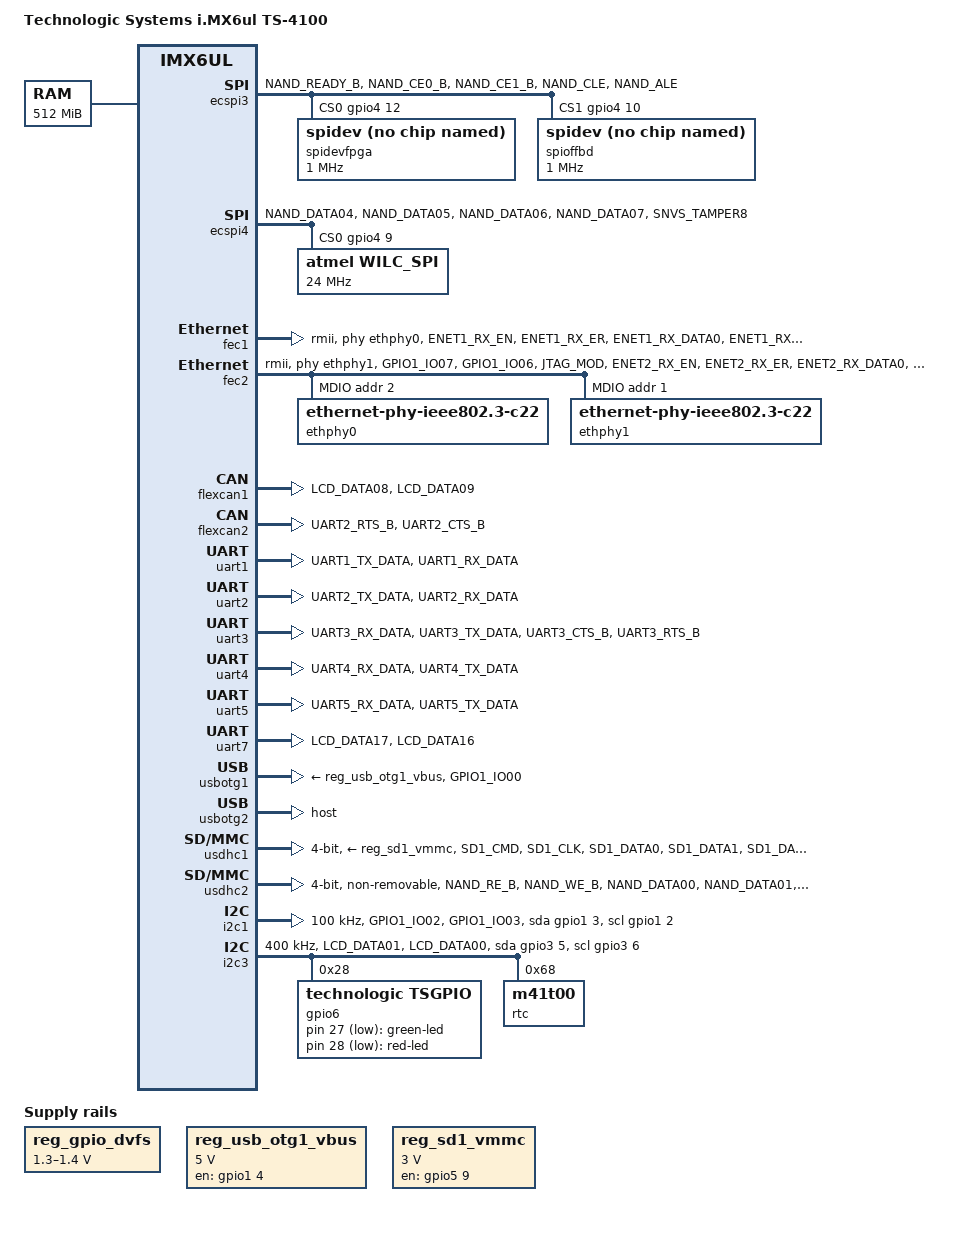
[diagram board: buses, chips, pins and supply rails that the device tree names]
/*
 * Copyright 2017 Technologic Systems
 *
 * This file is dual-licensed: you can use it either under the terms
 * of the GPL or the X11 license, at your option. Note that this dual
 * licensing only applies to this file, and not this project as a
 * whole.
 *
 *  a) This file is free software; you can redistribute it and/or
 *     modify it under the terms of the GNU General Public License
 *     version 2 as published by the Free Software Foundation.
 *
 *     This file is distributed in the hope that it will be useful
 *     but WITHOUT ANY WARRANTY; without even the implied warranty of
 *     MERCHANTABILITY or FITNESS FOR A PARTICULAR PURPOSE.  See the
 *     GNU General Public License for more details.
 *
 * Or, alternatively
 *
 *  b) Permission is hereby granted, free of charge, to any person
 *     obtaining a copy of this software and associated documentation
 *     files (the "Software"), to deal in the Software without
 *     restriction, including without limitation the rights to use
 *     copy, modify, merge, publish, distribute, sublicense, and/or
 *     sell copies of the Software, and to permit persons to whom the
 *     Software is furnished to do so, subject to the following
 *     conditions:
 *
 *     The above copyright notice and this permission notice shall be
 *     included in all copies or substantial portions of the Software.
 *
 *     THE SOFTWARE IS PROVIDED , WITHOUT WARRANTY OF ANY KIND
 *     EXPRESS OR IMPLIED, INCLUDING BUT NOT LIMITED TO THE WARRANTIES
 *     OF MERCHANTABILITY, FITNESS FOR A PARTICULAR PURPOSE AND
 *     NONINFRINGEMENT. IN NO EVENT SHALL THE AUTHORS OR COPYRIGHT
 *     HOLDERS BE LIABLE FOR ANY CLAIM, DAMAGES OR OTHER LIABILITY
 *     WHETHER IN AN ACTION OF CONTRACT, TORT OR OTHERWISE, ARISING
 *     FROM, OUT OF OR IN CONNECTION WITH THE SOFTWARE OR THE USE OR
 *     OTHER DEALINGS IN THE SOFTWARE.
 */

#include <dt-bindings/input/input.h>
#include "imx6ul.dtsi"

/ {
	model = "Technologic Systems i.MX6ul TS-4100";
	compatible = "technologic,ts4100", "fsl,imx6ul";

	chosen {
		stdout-path = &uart1;
	};

	memory {
		reg = <0x80000000 0x20000000>;
	};

	leds {
		pinctrl-names = "default";
		compatible = "gpio-leds";

		green-led {
			label = "green-led";
			gpios = <&gpio6 27 GPIO_ACTIVE_LOW>;
			default-state = "on";
		};

		red-led {
			label = "red-led";
			gpios = <&gpio6 28 GPIO_ACTIVE_LOW>;
			default-state = "off";
		};
	};

	reserved-memory {
		#address-cells = <1>;
		#size-cells = <1>;
		ranges;

		linux,cma {
			compatible = "shared-dma-pool";
			reusable;
			size = <0x14000000>;
			linux,cma-default;
		};
	};

	aliases {
		ethernet0 = &fec2;
		ethernet1 = &fec1;
	};

	pxp_v4l2 {
		compatible = "fsl,imx6ul-pxp-v4l2", "fsl,imx6sx-pxp-v4l2", "fsl,imx6sl-pxp-v4l2";
		status = "disabled";
	};

	regulators {
		compatible = "simple-bus";
		#address-cells = <1>;
		#size-cells = <0>;

		reg_gpio_dvfs: regulator-gpio {
			compatible = "regulator-gpio";
			pinctrl-names = "default";
			pinctrl-0 = <&pinctrl_dvfs>;
			regulator-min-microvolt = <1300000>;
			regulator-max-microvolt = <1400000>;
			regulator-name = "gpio_dvfs";
			regulator-type = "voltage";
			gpios = <&gpio5 3 GPIO_ACTIVE_HIGH>;
			states = <1300000 0x1 1400000 0x0>;
		};

		reg_usb_otg1_vbus: regulator@2 {
			compatible = "regulator-fixed";
			reg = <2>;
			pinctrl-names = "default";
			pinctrl-0 = <&pinctrl_usb_otg1>;
			regulator-name = "usb_otg1_vbus";
			regulator-min-microvolt = <5000000>;
			regulator-max-microvolt = <5000000>;
			gpio = <&gpio1 4 GPIO_ACTIVE_HIGH>;
			enable-active-high;
		};

		reg_sd1_vmmc: sd1_vmmc {
			compatible = "regulator-fixed";
			regulator-name = "SD1_SPWR";
			regulator-min-microvolt = <3000000>;
			regulator-max-microvolt = <3000000>;
			gpio = <&gpio5 9 GPIO_ACTIVE_HIGH>;
			enable-active-high;
		};
	};
};

&cpu0 {
	arm-supply = <&reg_arm>;
	soc-supply = <&reg_soc>;
	dc-supply = <&reg_gpio_dvfs>;
};

&ecspi3 {
	fsl,spi-num-chipselects = <2>;
	cs-gpios = <&gpio4 12 0>, <&gpio4 10 0>;
	pinctrl-names = "default";
	pinctrl-0 = <&pinctrl_ecspi3>;
	status = "okay";

	spidevfpga: spi@0 {
		compatible = "spidev";
		reg = <0>;
		spi-max-frequency = <1000000>;
	};

	spioffbd: spi@1 {
		compatible = "spidev";
		reg = <1>;
		spi-max-frequency = <1000000>;
	};
};

&ecspi4 {
	fsl,spi-num-chipselects = <1>;
	cs-gpios = <&gpio4 9 0>;
	pinctrl-names = "default";
	pinctrl-0 = <&pinctrl_ecspi4>;
	status = "okay";

	wilc_spi@0 {
		compatible = "atmel,wilc_spi";
		reg = <0>;
		spi-max-frequency = <24000000>;
		status = "okay";
    };
};

&fec1 {
	pinctrl-names = "default";
	pinctrl-0 = <&pinctrl_enet1>;
	phy-mode = "rmii";
	phy-handle = <&ethphy0>;
	status = "okay";
};

&fec2 {
	pinctrl-names = "default";
	pinctrl-0 = <&pinctrl_enet2>;
	phy-mode = "rmii";
	phy-handle = <&ethphy1>;
	status = "okay";

	mdio {
		#address-cells = <1>;
		#size-cells = <0>;

		ethphy0: ethernet-phy@2 {
			compatible = "ethernet-phy-ieee802.3-c22";
			reg = <2>;
		};

		ethphy1: ethernet-phy@1 {
			compatible = "ethernet-phy-ieee802.3-c22";
			reg = <1>;
		};
	};
};

&flexcan1 {
	pinctrl-names = "default";
	pinctrl-0 = <&pinctrl_flexcan1>;
	status = "okay";
};

&flexcan2 {
	pinctrl-names = "default";
	pinctrl-0 = <&pinctrl_flexcan2>;
	status = "okay";
};

&gpc {
	fsl,cpu_pupscr_sw2iso = <0x1>;
	fsl,cpu_pupscr_sw = <0x0>;
	fsl,cpu_pdnscr_iso2sw = <0x1>;
	fsl,cpu_pdnscr_iso = <0x1>;
	fsl,ldo-bypass = <0>; /* DCDC, ldo-enable */
};

&uart1 {
	pinctrl-names = "default";
	pinctrl-0 = <&pinctrl_uart1>;
	status = "okay";
};

&uart2 {
	pinctrl-names = "default";
	pinctrl-0 = <&pinctrl_uart2>;
	status = "okay";
};

&uart3 {
	pinctrl-names = "default";
	pinctrl-0 = <&pinctrl_uart3>;
	status = "okay";
	fsl,uart-has-rtscts;
};

&uart4 {
	pinctrl-names = "default";
	pinctrl-0 = <&pinctrl_uart4>;
	status = "okay";
};

&uart5 {
	pinctrl-names = "default";
	pinctrl-0 = <&pinctrl_uart5>;
	status = "okay";
};

&uart7 {
	pinctrl-names = "default";
	pinctrl-0 = <&pinctrl_uart7>;
	status = "okay";
};

&usbotg1 {
	vbus-supply = <&reg_usb_otg1_vbus>;
	pinctrl-names = "default";
	pinctrl-0 = <&pinctrl_usb_otg1_id>;
	srp-disable;
	hnp-disable;
	adp-disable;
	status = "okay";
};

&usbotg2 {
	dr_mode = "host";
	disable-over-current;
	status = "okay";
};

&usdhc1 {
	pinctrl-names = "default", "state_100mhz", "state_200mhz";
	pinctrl-0 = <&pinctrl_usdhc1>;
	pinctrl-1 = <&pinctrl_usdhc1_100mhz>;
	pinctrl-2 = <&pinctrl_usdhc1_200mhz>;
	keep-power-in-suspend;
	enable-sdio-wakeup;
	bus-width = <4>;
	vmmc-supply = <&reg_sd1_vmmc>;
	status = "okay";
};

&usdhc2 {
	pinctrl-names = "default";
	pinctrl-0 = <&pinctrl_usdhc2>;
	no-1-8-v;
	non-removable;
	enable-sdio-wakeup;
	bus-width = <4>;
	status = "okay";
};

&i2c1 {
	clock-frequency = <100000>;
	pinctrl-names = "default", "gpio";
	pinctrl-0 = <&pinctrl_i2c1>;
	pinctrl-1 = <&pinctrl_i2c1_gpio>;
	status = "okay";
	scl-gpios = <&gpio1 2 GPIO_ACTIVE_HIGH>;
	sda-gpios = <&gpio1 3 GPIO_ACTIVE_HIGH>;
};

&i2c3 {
	clock-frequency = <400000>;
	pinctrl-names = "default", "gpio";
	pinctrl-0 = <&pinctrl_i2c3>;
	pinctrl-1 = <&pinctrl_i2c3_gpio>;
	status = "okay";
	scl-gpios = <&gpio3 6 GPIO_ACTIVE_HIGH>;
	sda-gpios = <&gpio3 5 GPIO_ACTIVE_HIGH>;

	gpio6: tsgpio@28 {
		compatible = "technologic,tsgpio";
		reg = <0x28>;
		#gpio-cells = <2>;
		gpio-controller;
		base = <160>;
		ngpio = /bits/ 16 <128>;
	};

	rtc: m41t00s@68 {
		compatible = "m41t00";
		reg = <0x68>;
	};
};

&snvs_rtc {
	status = "disabled";
};

&wdog1 {
	pinctrl-names = "default";
	pinctrl-0 = <&pinctrl_wdog>;
	fsl,wdog_b;
};

&iomuxc {
	pinctrl-names = "default";
	imx6ul-ts4100 {
		pinctrl_usb_otg1_id: usbotg1idgrp {
			fsl,pins = <
				MX6UL_PAD_GPIO1_IO00__ANATOP_OTG1_ID	0x17059
			>;
		};

		pinctrl_usb_otg1: usbotg1grp {
			fsl,pins = <
				MX6UL_PAD_GPIO1_IO04__GPIO1_IO04        0x10b0
			>;
		};

		pinctrl_flexcan1: flexcan1grp{
			fsl,pins = <
				MX6UL_PAD_LCD_DATA08__FLEXCAN1_TX	0x1b020
				MX6UL_PAD_LCD_DATA09__FLEXCAN1_RX	0x1b020
			>;
		};

		pinctrl_flexcan2: flexcan2grp{
			fsl,pins = <
				MX6UL_PAD_UART2_RTS_B__FLEXCAN2_RX	0x1b020
				MX6UL_PAD_UART2_CTS_B__FLEXCAN2_TX	0x1b020
			>;
		};

		pinctrl_uart1: uart1grp {
			fsl,pins = <
				MX6UL_PAD_UART1_TX_DATA__UART1_DCE_TX 0x1b0b1
				MX6UL_PAD_UART1_RX_DATA__UART1_DCE_RX 0x1b0b1
			>;
		};

		pinctrl_uart2: uart2grp {
			fsl,pins = <
				MX6UL_PAD_UART2_TX_DATA__UART2_DCE_TX	0x1b0b1
				MX6UL_PAD_UART2_RX_DATA__UART2_DCE_RX	0x1b0b1
			>;
		};

		pinctrl_uart3: uart3grp {
			fsl,pins = <
				MX6UL_PAD_UART3_RX_DATA__UART3_DCE_RX	0x1b0b1
				MX6UL_PAD_UART3_TX_DATA__UART3_DCE_TX	0x1b0b1
				MX6UL_PAD_UART3_CTS_B__UART3_DCE_CTS	0x1b0b1
				MX6UL_PAD_UART3_RTS_B__UART3_DCE_RTS	0x1b0b1
			>;
		};

		pinctrl_uart4: uart4grp {
			fsl,pins = <
				MX6UL_PAD_UART4_RX_DATA__UART4_DCE_RX	0x1b0b1
				MX6UL_PAD_UART4_TX_DATA__UART4_DCE_TX	0x1b0b1
			>;
		};

		pinctrl_uart5: uart5grp {
			fsl,pins = <
				MX6UL_PAD_UART5_RX_DATA__UART5_DCE_RX	0x1b0b1
				MX6UL_PAD_UART5_TX_DATA__UART5_DCE_TX	0x1b0b1
			>;
		};

		pinctrl_uart7: uart7grp {
			fsl,pins = <
				MX6UL_PAD_LCD_DATA17__UART7_DCE_RX	0x1b0b1
				MX6UL_PAD_LCD_DATA16__UART7_DCE_TX	0x1b0b1
			>;
		};

		pinctrl_sai2: sai2grp {
			fsl,pins = <
				MX6UL_PAD_JTAG_TDI__SAI2_TX_BCLK	0x17088
				MX6UL_PAD_JTAG_TDO__SAI2_TX_SYNC	0x17088
				MX6UL_PAD_JTAG_TRST_B__SAI2_TX_DATA	0x11088
				MX6UL_PAD_JTAG_TCK__SAI2_RX_DATA	0x11088
				MX6UL_PAD_JTAG_TMS__SAI2_MCLK		0x17088
			>;
		};

		pinctrl_enet1: enet1grp {
			fsl,pins = <
				MX6UL_PAD_ENET1_RX_EN__ENET1_RX_EN	0x1b0b0
				MX6UL_PAD_ENET1_RX_ER__ENET1_RX_ER	0x1b0b0
				MX6UL_PAD_ENET1_RX_DATA0__ENET1_RDATA00	0x1b0b0
				MX6UL_PAD_ENET1_RX_DATA1__ENET1_RDATA01	0x1b0b0
				MX6UL_PAD_ENET1_TX_EN__ENET1_TX_EN	0x1b0b0
				MX6UL_PAD_ENET1_TX_DATA0__ENET1_TDATA00	0x1b0b0
				MX6UL_PAD_ENET1_TX_DATA1__ENET1_TDATA01	0x1b0b0
				MX6UL_PAD_ENET1_TX_CLK__ENET1_REF_CLK1	0x4001b031
			>;
		};

		pinctrl_enet2: enet2grp {
			fsl,pins = <
				MX6UL_PAD_GPIO1_IO07__ENET2_MDC		0x1b0b0
				MX6UL_PAD_GPIO1_IO06__ENET2_MDIO	0x1b0b0
				MX6UL_PAD_JTAG_MOD__GPIO1_IO10      0x1f0b0
				MX6UL_PAD_ENET2_RX_EN__ENET2_RX_EN	0x1b0b0
				MX6UL_PAD_ENET2_RX_ER__ENET2_RX_ER	0x1b0b0
				MX6UL_PAD_ENET2_RX_DATA0__ENET2_RDATA00	0x1b0b0
				MX6UL_PAD_ENET2_RX_DATA1__ENET2_RDATA01	0x1b0b0
				MX6UL_PAD_ENET2_TX_EN__ENET2_TX_EN	0x1b0b0
				MX6UL_PAD_ENET2_TX_DATA0__ENET2_TDATA00	0x1b0b0
				MX6UL_PAD_ENET2_TX_DATA1__ENET2_TDATA01	0x1b0b0
				MX6UL_PAD_ENET2_TX_CLK__ENET2_REF_CLK2	0x4001b031
			>;
		};

		pinctrl_wdog: wdoggrp {
			fsl,pins = <
				MX6UL_PAD_LCD_RESET__WDOG1_WDOG_ANY    0x30b0
			>;
		};

		pinctrl_i2c1: i2c1grp {
			fsl,pins = <
				MX6UL_PAD_GPIO1_IO02__I2C1_SCL 0x4001b8b0
				MX6UL_PAD_GPIO1_IO03__I2C1_SDA 0x4001b8b0
			>;
		};

		pinctrl_i2c1_gpio: i2c1grpgpio {
			fsl,pins = <
				MX6UL_PAD_GPIO1_IO02__GPIO1_IO02 0x4001b8b0
				MX6UL_PAD_GPIO1_IO03__GPIO1_IO03 0x4001b8b0
			>;
		};

		pinctrl_i2c3: i2c3grp {
			fsl,pins = <
				MX6UL_PAD_LCD_DATA01__I2C3_SCL 0x4001b8b0
				MX6UL_PAD_LCD_DATA00__I2C3_SDA 0x4001b8b0
			>;
		};

		pinctrl_i2c3_gpio: i2c3grpgpio {
			fsl,pins = <
				MX6UL_PAD_LCD_DATA01__GPIO3_IO06 0x4001b8b0
				MX6UL_PAD_LCD_DATA00__GPIO3_IO05 0x4001b8b0
			>;
		};

		pinctrl_usdhc1: usdhc1grp {
			fsl,pins = <
				MX6UL_PAD_SD1_CMD__USDHC1_CMD        0x17059
				MX6UL_PAD_SD1_CLK__USDHC1_CLK        0x10071
				MX6UL_PAD_SD1_DATA0__USDHC1_DATA0    0x17059
				MX6UL_PAD_SD1_DATA1__USDHC1_DATA1    0x17059
				MX6UL_PAD_SD1_DATA2__USDHC1_DATA2    0x17059
				MX6UL_PAD_SD1_DATA3__USDHC1_DATA3    0x17059
				MX6UL_PAD_SNVS_TAMPER9__GPIO5_IO09   0x17059 /* EN_SD_POWER */
				MX6UL_PAD_GPIO1_IO05__USDHC1_VSELECT 0x17059 /* SD1 VSELECT */
			>;
		};

		pinctrl_usdhc1_100mhz: usdhc1grp100mhz {
			fsl,pins = <
				MX6UL_PAD_SD1_CMD__USDHC1_CMD     0x170b9
				MX6UL_PAD_SD1_CLK__USDHC1_CLK     0x100b9
				MX6UL_PAD_SD1_DATA0__USDHC1_DATA0 0x170b9
				MX6UL_PAD_SD1_DATA1__USDHC1_DATA1 0x170b9
				MX6UL_PAD_SD1_DATA2__USDHC1_DATA2 0x170b9
				MX6UL_PAD_SD1_DATA3__USDHC1_DATA3 0x170b9
			>;
		};

		pinctrl_usdhc1_200mhz: usdhc1grp200mhz {
			fsl,pins = <
				MX6UL_PAD_SD1_CMD__USDHC1_CMD     0x170f9
				MX6UL_PAD_SD1_CLK__USDHC1_CLK     0x100f9
				MX6UL_PAD_SD1_DATA0__USDHC1_DATA0 0x170f9
				MX6UL_PAD_SD1_DATA1__USDHC1_DATA1 0x170f9
				MX6UL_PAD_SD1_DATA2__USDHC1_DATA2 0x170f9
				MX6UL_PAD_SD1_DATA3__USDHC1_DATA3 0x170f9
			>;
		};

		pinctrl_usdhc2: usdhc2grp {
			fsl,pins = <
				MX6UL_PAD_NAND_RE_B__USDHC2_CLK     0x10069
				MX6UL_PAD_NAND_WE_B__USDHC2_CMD     0x17059
				MX6UL_PAD_NAND_DATA00__USDHC2_DATA0 0x17059
				MX6UL_PAD_NAND_DATA01__USDHC2_DATA1 0x17059
				MX6UL_PAD_NAND_DATA02__USDHC2_DATA2 0x17059
				MX6UL_PAD_NAND_DATA03__USDHC2_DATA3 0x17059
			>;
		};

		pinctrl_ecspi3: ecspi3grp {
			fsl,pins = <
				MX6UL_PAD_NAND_READY_B__GPIO4_IO12  0x10b0 // SPI_3_FPGA_CS#
				MX6UL_PAD_NAND_CE0_B__ECSPI3_SCLK   0x10b0
				MX6UL_PAD_NAND_CE1_B__ECSPI3_MOSI   0x10b0
				MX6UL_PAD_NAND_CLE__ECSPI3_MISO     0x10b0
				MX6UL_PAD_NAND_ALE__GPIO4_IO10      0x10b0 // SPI_3_OFF_BD_CS#
			>;
		};

		pinctrl_ecspi4: ecspi4grp {
			fsl,pins = <
				MX6UL_PAD_NAND_DATA04__ECSPI4_SCLK  0x10b0
				MX6UL_PAD_NAND_DATA05__ECSPI4_MOSI  0x10b0
				MX6UL_PAD_NAND_DATA06__ECSPI4_MISO  0x10b0
				MX6UL_PAD_NAND_DATA07__GPIO4_IO09   0x10b0  // WIFI chip select
				MX6UL_PAD_SNVS_TAMPER8__GPIO5_IO08  0x1b020 // SPARE_4/WIFI_IRQ
			>;
		};

		pinctrl_dvfs: dvfsgrp {
			fsl,pins = <
				MX6UL_PAD_SNVS_TAMPER3__GPIO5_IO03	0x79
			>;
		};
	};
};
